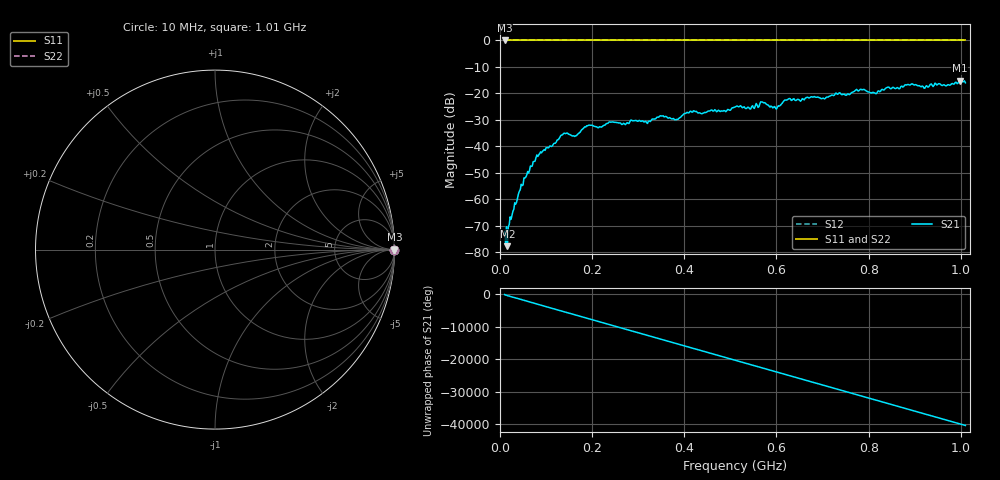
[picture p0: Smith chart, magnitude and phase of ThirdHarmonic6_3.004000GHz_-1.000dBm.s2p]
! 8/17/2025 8:35:59 AM
! C:\ANRITSUVNA\TEMP\TEMP.S2P
! CHANNEL.1
! TR.MEASUREMENT
! RAW.DATA
! RF.CORRECTION.OFF
! AVERAGING.OFF
! IF.BANDWIDTH: 5KHZ
! SWEEPTYPE:  FREQ.SWEEP(Linear)
! Reference Plane Port Info
! PORT:  PORT1  PORT2
! DISTANCE:  0  m  0  m
! TIME:  0  s  0  s
! PHASE.OFFSET:  0  deg.  0  deg.
! LOSS:  0  dB  0  dB
! REF.LOSS:  0  dB  0  dB
! REF.FREQ:  0  Hz  0  Hz
! Power Info
! POWER:  -20  dBm  -20  dBm
! EFF.POWER:  -20  dBm  -20  dBm
! SOURCE.ATTEN:  0  dB  0  dB
! TEST.ATTEN:  0  dB  0  dB
# GHZ S RI R 50.0
! FREQ.GHZ  S11RE  S11IM  S21RE  S21IM  S12RE  S12IM  S22RE  S22IM
!; PortSelection: Port_12
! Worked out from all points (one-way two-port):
!   501 points, 10 MHz to 1.01 GHz, reference 50 ohm
!   highest |S21| = -15.19 dB at 998 MHz (marker M1); lowest = -77.7 dB at 16 MHz (marker M2)
!   lowest |S11| = 0.0 dB at 10 MHz (marker M3)
!   |S11| at or under -10 dB: nowhere
!   |S22| runs from 0.0 to 0.0 dB; largest |S21 - S12| = 1.2
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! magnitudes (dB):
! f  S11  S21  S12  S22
! 10 MHz  0.0  -72.1  0.0  0.0
! 16 MHz  0.0  -77.7  0.0  0.0
! 44 MHz  0.0  -56.3  0.0  0.0
! 76 MHz  0.0  -45.6  0.0  0.0
! 136 MHz  0.0  -35.6  0.0  0.0
! 162 MHz  0.0  -36.3  0.0  0.0
! 178 MHz  0.0  -33.6  0.0  0.0
! 322 MHz  0.0  -30.5  0.0  0.0
! 344 MHz  0.0  -29.0  0.0  0.0
! 382 MHz  0.0  -29.9  0.0  0.0
! 416 MHz  0.0  -27.0  0.0  0.0
! 510 MHz  0.0  -25.1  0.0  0.0
! 540 MHz  0.0  -25.4  0.0  0.0
! 570 MHz  0.0  -23.3  0.0  0.0
! 596 MHz  0.0  -25.0  0.0  0.0
! 624 MHz  0.0  -22.4  0.0  0.0
! 678 MHz  0.0  -21.4  0.0  0.0
! 786 MHz  0.0  -18.7  0.0  0.0
! 814 MHz  0.0  -19.9  0.0  0.0
! 844 MHz  0.0  -17.7  0.0  0.0
! 998 MHz  0.0  -15.2  0.0  0.0
! 1.01 GHz  0.0  -16.0  0.0  0.0
